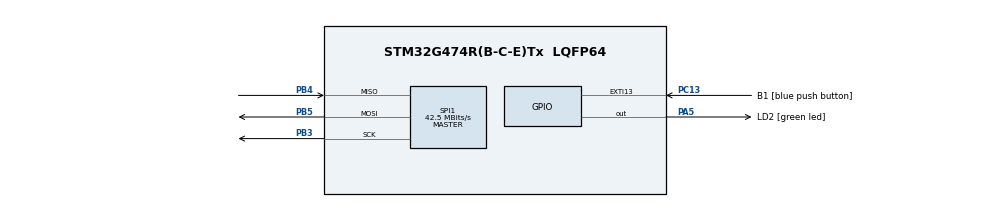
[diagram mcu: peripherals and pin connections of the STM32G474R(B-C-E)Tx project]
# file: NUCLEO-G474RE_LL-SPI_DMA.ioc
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Dma.Request0=SPI1_TX
Dma.SPI1_TX.0.Direction=DMA_MEMORY_TO_PERIPH
Dma.SPI1_TX.0.EventEnable=DISABLE
Dma.SPI1_TX.0.Instance=DMA1_Channel3
Dma.SPI1_TX.0.MemDataAlignment=DMA_MDATAALIGN_BYTE
Dma.SPI1_TX.0.MemInc=DMA_MINC_ENABLE
Dma.SPI1_TX.0.Mode=DMA_NORMAL
Dma.SPI1_TX.0.PeriphDataAlignment=DMA_PDATAALIGN_BYTE
Dma.SPI1_TX.0.PeriphInc=DMA_PINC_DISABLE
Dma.SPI1_TX.0.Polarity=HAL_DMAMUX_REQ_GEN_RISING
Dma.SPI1_TX.0.Priority=DMA_PRIORITY_LOW
Dma.SPI1_TX.0.RequestNumber=1
Dma.SPI1_TX.0.SignalID=NONE
Dma.SPI1_TX.0.SyncEnable=DISABLE
Dma.SPI1_TX.0.SyncPolarity=HAL_DMAMUX_SYNC_NO_EVENT
Dma.SPI1_TX.0.SyncRequestNumber=1
Dma.SPI1_TX.0.SyncSignalID=NONE
Mcu.Family=STM32G4
Mcu.Name=STM32G474R(B-C-E)Tx
Mcu.Package=LQFP64
NVIC.DMA1_Channel3_IRQn=true\:0\:0\:false\:false\:true\:false\:true
NVIC.EXTI15_10_IRQn=true\:0\:0\:false\:false\:true\:true\:true
NVIC.PriorityGroup=NVIC_PRIORITYGROUP_4
PA13.GPIO_Label=T_SWDIO
PA13.Mode=Serial_Wire
PA13.Signal=SYS_JTMS-SWDIO
PA14.GPIO_Label=T_SWCLK
PA14.Mode=Serial_Wire
PA14.Signal=SYS_JTCK-SWCLK
PA5.GPIO_Label=LD2 [green led]
PA5.Signal=GPIO_Output
PB3.GPIO_Speed=GPIO_SPEED_FREQ_HIGH
PB3.Mode=Full_Duplex_Master
PB3.Signal=SPI1_SCK
PB4.GPIO_Speed=GPIO_SPEED_FREQ_HIGH
PB4.Mode=Full_Duplex_Master
PB4.Signal=SPI1_MISO
PB5.GPIO_Speed=GPIO_SPEED_FREQ_HIGH
PB5.Mode=Full_Duplex_Master
PB5.Signal=SPI1_MOSI
PC13.GPIO_Label=B1 [blue push button]
PC13.Signal=GPXTI13
PC14-OSC32_IN.Mode=LSE-External-Oscillator
PC14-OSC32_IN.Signal=RCC_OSC32_IN
PC15-OSC32_OUT.Mode=LSE-External-Oscillator
PC15-OSC32_OUT.Signal=RCC_OSC32_OUT
PF0-OSC_IN.Mode=HSE-External-Oscillator
PF0-OSC_IN.Signal=RCC_OSC_IN
PF1-OSC_OUT.Mode=HSE-External-Oscillator
PF1-OSC_OUT.Signal=RCC_OSC_OUT
ProjectManager.HeapSize=0x200
ProjectManager.StackSize=0x400
ProjectManager.TargetToolchain=STM32CubeIDE
RCC.ADC12Freq_Value=170000000
RCC.ADC345Freq_Value=170000000
RCC.AHBFreq_Value=170000000
RCC.APB1Freq_Value=170000000
RCC.APB1TimFreq_Value=170000000
RCC.APB2Freq_Value=170000000
RCC.APB2TimFreq_Value=170000000
RCC.CortexFreq_Value=170000000
RCC.EXTERNAL_CLOCK_VALUE=12288000
RCC.HCLKFreq_Value=170000000
RCC.HSE_VALUE=24000000
RCC.HSI48_VALUE=48000000
RCC.HSI_VALUE=16000000
RCC.PLLM=RCC_PLLM_DIV6
RCC.PLLN=85
RCC.PLLSourceVirtual=RCC_PLLSOURCE_HSE
RCC.RTCClockSelection=RCC_RTCCLKSOURCE_LSE
RCC.SYSCLKFreq_VALUE=170000000
RCC.SYSCLKSource=RCC_SYSCLKSOURCE_PLLCLK
RCC.USBFreq_Value=170000000
RCC.VCOOutputFreq_Value=340000000
SPI1.BaudRatePrescaler=SPI_BAUDRATEPRESCALER_4
SPI1.CalculateBaudRate=42.5 MBits/s
SPI1.DataSize=SPI_DATASIZE_8BIT
SPI1.Direction=SPI_DIRECTION_2LINES
SPI1.Mode=SPI_MODE_MASTER
SPI1.VirtualType=VM_MASTER
VP_SYS_VS_DBSignals.Mode=DisableDeadBatterySignals
board=NUCLEO-G474RE

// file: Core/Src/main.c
/* USER CODE BEGIN Header */
/**
  ******************************************************************************
  * @file           : main.c
  * @brief          : Main program body
  ******************************************************************************
  * @attention
  *
  * <h2><center>&copy; Copyright (c) 2020 STMicroelectronics.
  * All rights reserved.</center></h2>
  *
  * This software component is licensed by ST under BSD 3-Clause license,
  * the "License"; You may not use this file except in compliance with the
  * License. You may obtain a copy of the License at:
  *                        opensource.org/licenses/BSD-3-Clause
  *
  ******************************************************************************
  */
/* USER CODE END Header */

#include "main.h"

/* USER CODE BEGIN PV */

uint8_t aTxBuffer[] = "**** SPI_TwoBoards_FullDuplex_DMA communication **** SPI_TwoBoards_FullDuplex_DMA communication **** SPI_TwoBoards_FullDuplex_DMA communication ****";
uint8_t ubNbDataToTransmit = sizeof(aTxBuffer);

/* USER CODE END PV */

void SystemClock_Config(void);
static void MX_GPIO_Init(void);
static void MX_DMA_Init(void);
static void MX_SPI1_Init(void);

int main(void)
{

  /* MCU Configuration--------------------------------------------------------*/

  /* Reset of all peripherals, Initializes the Flash interface and the Systick. */
  HAL_Init();

  /* Configure the system clock */
  SystemClock_Config();

  /* Initialize all configured peripherals */
  MX_GPIO_Init();
  MX_DMA_Init();
  MX_SPI1_Init();
  /* USER CODE BEGIN 2 */

  /* Configure the DMA1_Channel3 functional parameters */
  LL_DMA_ConfigTransfer(DMA1,
                        LL_DMA_CHANNEL_3,
                        LL_DMA_DIRECTION_MEMORY_TO_PERIPH | LL_DMA_PRIORITY_HIGH | LL_DMA_MODE_NORMAL |
                        LL_DMA_PERIPH_NOINCREMENT | LL_DMA_MEMORY_INCREMENT |
                        LL_DMA_PDATAALIGN_BYTE | LL_DMA_MDATAALIGN_BYTE);
  LL_DMA_ConfigAddresses(DMA1,
                         LL_DMA_CHANNEL_3,
                         (uint32_t)aTxBuffer, LL_SPI_DMA_GetRegAddr(SPI1),
                         LL_DMA_GetDataTransferDirection(DMA1, LL_DMA_CHANNEL_3));
  LL_DMA_SetDataLength(DMA1, LL_DMA_CHANNEL_3, ubNbDataToTransmit);

  LL_DMA_SetPeriphRequest(DMA1, LL_DMA_CHANNEL_3, LL_DMAMUX_REQ_SPI1_TX);

  /* Configure SPI1 DMA transfer interrupts */
  /* Enable DMA TX Interrupt */
  LL_SPI_EnableDMAReq_TX(SPI1);

  /* Enable SPI1 */
  LL_SPI_Enable(SPI1);

  GPIOA->BSRR = (1<<5); // start

  /* Enable DMA Channels */
  LL_DMA_EnableChannel(DMA1, LL_DMA_CHANNEL_3);

  GPIOA->BSRR = (1<<21); // reset/end +16

  /* USER CODE END 2 */

  /* Infinite loop */
  while (1)
  {

  }
}

void SystemClock_Config(void)
{
  LL_FLASH_SetLatency(LL_FLASH_LATENCY_8);
  LL_PWR_EnableRange1BoostMode();
  LL_RCC_HSE_Enable();

   /* Wait till HSE is ready */
  while(LL_RCC_HSE_IsReady() != 1)
  {

  }
  LL_RCC_PLL_ConfigDomain_SYS(LL_RCC_PLLSOURCE_HSE, LL_RCC_PLLM_DIV_6, 85, LL_RCC_PLLR_DIV_2);
  LL_RCC_PLL_EnableDomain_SYS();
  LL_RCC_PLL_Enable();

   /* Wait till PLL is ready */
  while(LL_RCC_PLL_IsReady() != 1)
  {

  }
  LL_RCC_SetSysClkSource(LL_RCC_SYS_CLKSOURCE_PLL);
  LL_RCC_SetAHBPrescaler(LL_RCC_SYSCLK_DIV_2);

   /* Wait till System clock is ready */
  while(LL_RCC_GetSysClkSource() != LL_RCC_SYS_CLKSOURCE_STATUS_PLL)
  {

  }
  /* Insure 1�s transition state at intermediate medium speed clock based on DWT */
  CoreDebug->DEMCR |= CoreDebug_DEMCR_TRCENA_Msk;
  DWT->CTRL |= DWT_CTRL_CYCCNTENA_Msk;
  DWT->CYCCNT = 0;
  while(DWT->CYCCNT < 100);
  /* Set AHB prescaler*/
  LL_RCC_SetAHBPrescaler(LL_RCC_SYSCLK_DIV_1);
  LL_RCC_SetAPB1Prescaler(LL_RCC_APB1_DIV_1);
  LL_RCC_SetAPB2Prescaler(LL_RCC_APB1_DIV_1);
  LL_SetSystemCoreClock(170000000);

   /* Update the time base */
  if (HAL_InitTick (TICK_INT_PRIORITY) != HAL_OK)
  {
    Error_Handler();
  };
}

static void MX_SPI1_Init(void)
{

  LL_SPI_InitTypeDef SPI_InitStruct = {0};

  LL_GPIO_InitTypeDef GPIO_InitStruct = {0};

  /* Peripheral clock enable */
  LL_APB2_GRP1_EnableClock(LL_APB2_GRP1_PERIPH_SPI1);

  LL_AHB2_GRP1_EnableClock(LL_AHB2_GRP1_PERIPH_GPIOB);
  /**SPI1 GPIO Configuration
  PB3   ------> SPI1_SCK
  PB4   ------> SPI1_MISO
  PB5   ------> SPI1_MOSI
  */
  GPIO_InitStruct.Pin = LL_GPIO_PIN_3;
  GPIO_InitStruct.Mode = LL_GPIO_MODE_ALTERNATE;
  GPIO_InitStruct.Speed = LL_GPIO_SPEED_FREQ_HIGH;
  GPIO_InitStruct.OutputType = LL_GPIO_OUTPUT_PUSHPULL;
  GPIO_InitStruct.Pull = LL_GPIO_PULL_NO;
  GPIO_InitStruct.Alternate = LL_GPIO_AF_5;
  LL_GPIO_Init(GPIOB, &GPIO_InitStruct);

  GPIO_InitStruct.Pin = LL_GPIO_PIN_4;
  GPIO_InitStruct.Mode = LL_GPIO_MODE_ALTERNATE;
  GPIO_InitStruct.Speed = LL_GPIO_SPEED_FREQ_HIGH;
  GPIO_InitStruct.OutputType = LL_GPIO_OUTPUT_PUSHPULL;
  GPIO_InitStruct.Pull = LL_GPIO_PULL_NO;
  GPIO_InitStruct.Alternate = LL_GPIO_AF_5;
  LL_GPIO_Init(GPIOB, &GPIO_InitStruct);

  GPIO_InitStruct.Pin = LL_GPIO_PIN_5;
  GPIO_InitStruct.Mode = LL_GPIO_MODE_ALTERNATE;
  GPIO_InitStruct.Speed = LL_GPIO_SPEED_FREQ_HIGH;
  GPIO_InitStruct.OutputType = LL_GPIO_OUTPUT_PUSHPULL;
  GPIO_InitStruct.Pull = LL_GPIO_PULL_NO;
  GPIO_InitStruct.Alternate = LL_GPIO_AF_5;
  LL_GPIO_Init(GPIOB, &GPIO_InitStruct);

  /* SPI1 DMA Init */

  /* SPI1_TX Init */
  LL_DMA_SetPeriphRequest(DMA1, LL_DMA_CHANNEL_3, LL_DMAMUX_REQ_SPI1_TX);

  LL_DMA_SetDataTransferDirection(DMA1, LL_DMA_CHANNEL_3, LL_DMA_DIRECTION_MEMORY_TO_PERIPH);

  LL_DMA_SetChannelPriorityLevel(DMA1, LL_DMA_CHANNEL_3, LL_DMA_PRIORITY_LOW);

  LL_DMA_SetMode(DMA1, LL_DMA_CHANNEL_3, LL_DMA_MODE_NORMAL);

  LL_DMA_SetPeriphIncMode(DMA1, LL_DMA_CHANNEL_3, LL_DMA_PERIPH_NOINCREMENT);

  LL_DMA_SetMemoryIncMode(DMA1, LL_DMA_CHANNEL_3, LL_DMA_MEMORY_INCREMENT);

  LL_DMA_SetPeriphSize(DMA1, LL_DMA_CHANNEL_3, LL_DMA_PDATAALIGN_BYTE);

  LL_DMA_SetMemorySize(DMA1, LL_DMA_CHANNEL_3, LL_DMA_MDATAALIGN_BYTE);

  /* SPI1 parameter configuration*/
  SPI_InitStruct.TransferDirection = LL_SPI_FULL_DUPLEX;
  SPI_InitStruct.Mode = LL_SPI_MODE_MASTER;
  SPI_InitStruct.DataWidth = LL_SPI_DATAWIDTH_8BIT;
  SPI_InitStruct.ClockPolarity = LL_SPI_POLARITY_LOW;
  SPI_InitStruct.ClockPhase = LL_SPI_PHASE_1EDGE;
  SPI_InitStruct.NSS = LL_SPI_NSS_SOFT;
  SPI_InitStruct.BaudRate = LL_SPI_BAUDRATEPRESCALER_DIV4;
  SPI_InitStruct.BitOrder = LL_SPI_MSB_FIRST;
  SPI_InitStruct.CRCCalculation = LL_SPI_CRCCALCULATION_DISABLE;
  SPI_InitStruct.CRCPoly = 7;
  LL_SPI_Init(SPI1, &SPI_InitStruct);
  LL_SPI_SetStandard(SPI1, LL_SPI_PROTOCOL_MOTOROLA);
  LL_SPI_EnableNSSPulseMgt(SPI1);

}

static void MX_DMA_Init(void)
{

  /* DMA controller clock enable */
  __HAL_RCC_DMAMUX1_CLK_ENABLE();
  __HAL_RCC_DMA1_CLK_ENABLE();

  /* DMA interrupt init */
  /* DMA1_Channel3_IRQn interrupt configuration */
  NVIC_SetPriority(DMA1_Channel3_IRQn, NVIC_EncodePriority(NVIC_GetPriorityGrouping(),0, 0));
  NVIC_EnableIRQ(DMA1_Channel3_IRQn);

}

static void MX_GPIO_Init(void)
{
  LL_EXTI_InitTypeDef EXTI_InitStruct = {0};
  LL_GPIO_InitTypeDef GPIO_InitStruct = {0};

  /* GPIO Ports Clock Enable */
  LL_AHB2_GRP1_EnableClock(LL_AHB2_GRP1_PERIPH_GPIOC);
  LL_AHB2_GRP1_EnableClock(LL_AHB2_GRP1_PERIPH_GPIOF);
  LL_AHB2_GRP1_EnableClock(LL_AHB2_GRP1_PERIPH_GPIOA);
  LL_AHB2_GRP1_EnableClock(LL_AHB2_GRP1_PERIPH_GPIOB);

  /**/
  LL_GPIO_ResetOutputPin(LD2_GPIO_Port, LD2_Pin);

  /**/
  LL_SYSCFG_SetEXTISource(LL_SYSCFG_EXTI_PORTC, LL_SYSCFG_EXTI_LINE13);

  /**/
  EXTI_InitStruct.Line_0_31 = LL_EXTI_LINE_13;
  EXTI_InitStruct.LineCommand = ENABLE;
  EXTI_InitStruct.Mode = LL_EXTI_MODE_IT;
  EXTI_InitStruct.Trigger = LL_EXTI_TRIGGER_RISING;
  LL_EXTI_Init(&EXTI_InitStruct);

  /**/
  LL_GPIO_SetPinPull(B1_GPIO_Port, B1_Pin, LL_GPIO_PULL_NO);

  /**/
  LL_GPIO_SetPinMode(B1_GPIO_Port, B1_Pin, LL_GPIO_MODE_INPUT);

  /**/
  GPIO_InitStruct.Pin = LD2_Pin;
  GPIO_InitStruct.Mode = LL_GPIO_MODE_OUTPUT;
  GPIO_InitStruct.Speed = LL_GPIO_SPEED_FREQ_LOW;
  GPIO_InitStruct.OutputType = LL_GPIO_OUTPUT_PUSHPULL;
  GPIO_InitStruct.Pull = LL_GPIO_PULL_NO;
  LL_GPIO_Init(LD2_GPIO_Port, &GPIO_InitStruct);

  /* EXTI interrupt init*/
  NVIC_SetPriority(EXTI15_10_IRQn, NVIC_EncodePriority(NVIC_GetPriorityGrouping(),0, 0));
  NVIC_EnableIRQ(EXTI15_10_IRQn);

}

void Error_Handler(void)
{
}

/************************ (C) COPYRIGHT STMicroelectronics *****END OF FILE****/
